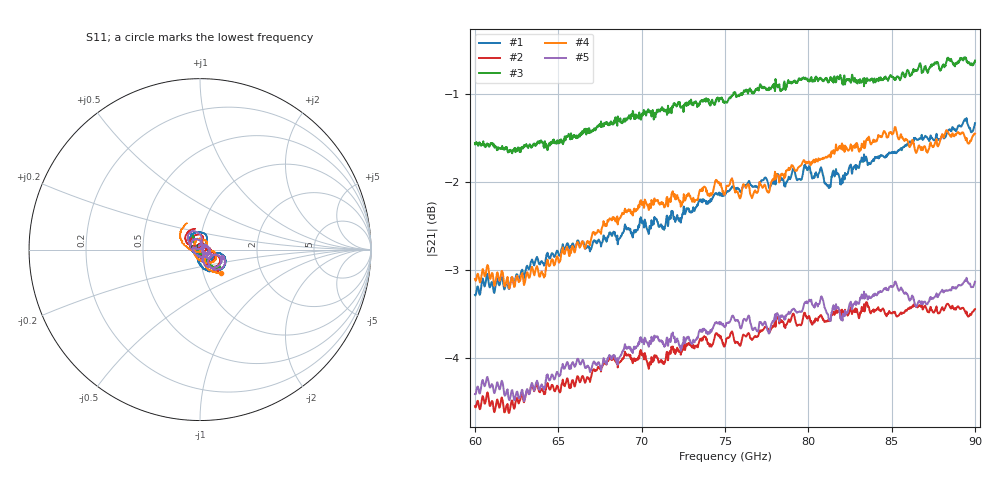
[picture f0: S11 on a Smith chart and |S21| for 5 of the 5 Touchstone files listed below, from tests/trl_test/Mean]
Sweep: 60 GHz to 90 GHz
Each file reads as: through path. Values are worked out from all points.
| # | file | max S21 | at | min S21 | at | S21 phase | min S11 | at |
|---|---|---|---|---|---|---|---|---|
| 1 | Line_Rx_mean.s2p | -1.27 dB | 89.49 GHz | -3.3 dB | 60.03 GHz | 168 deg at 75 GHz | -65.5 dB | 88.94 GHz |
| 2 | Line_Tx_mean.s2p | -3.36 dB | 83.49 GHz | -4.6 dB | 62.02 GHz | -113 deg at 75 GHz | -44.7 dB | 78.8 GHz |
| 3 | MeanLauncher.s2p | -0.58 dB | 89.37 GHz | -1.7 dB | 62.23 GHz | -51 deg at 75 GHz | -39.8 dB | 79.17 GHz |
| 4 | Thru_Rx_mean.s2p | -1.37 dB | 85.2 GHz | -3.2 dB | 62.05 GHz | -103 deg at 75 GHz | -42.5 dB | 83.95 GHz |
| 5 | Thru_Tx_mean.s2p | -3.08 dB | 89.49 GHz | -4.5 dB | 62.94 GHz | -27 deg at 75 GHz | -50.8 dB | 85.26 GHz |
